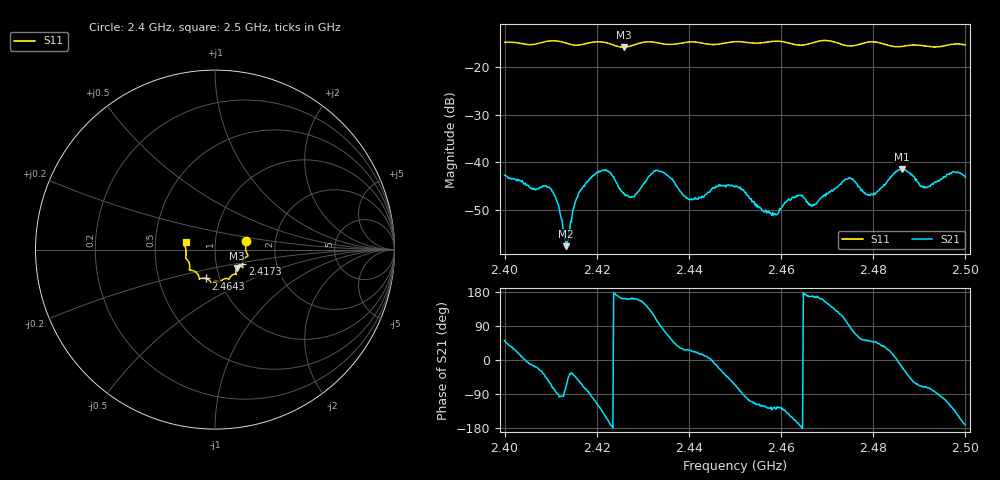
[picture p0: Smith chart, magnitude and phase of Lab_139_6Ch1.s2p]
# Hz S RI R 50
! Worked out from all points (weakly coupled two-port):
!   601 points, 2.4 GHz to 2.5 GHz, reference 50 ohm
!   highest |S21| = -41.37 dB at 2.4862 GHz (marker M1); lowest = -57.5 dB at 2.4133 GHz (marker M2)
!   lowest |S11| = -15.9 dB at 2.4258 GHz (marker M3), VSWR 1.38, Z = 62.3 - j13.3 ohm
!   |S11| at or under -10 dB: start of sweep to end of sweep
!   S12 and S22 are empty: the file has one direction only
!   S11 on the Smith chart (normalised r, x): 2.4 GHz: 1.41, +0.14; 2.4173 GHz: 1.34, -0.23; 2.4643 GHz: 0.86, -0.29; 2.5 GHz: 0.72, +0.06
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2.4e9  0.1733 0.0491  0.00462 0.00573  0 0  0 0
2.41e9  0.1836 -0.0325  0.00241 -0.00474  0 0  0 0
2.4115e9  0.1821 -0.0357  6.56e-05 -0.00375  0 0  0 0
2.413333e9  0.171 -0.0425  0.00047 -0.00125  0 0  0 0
2.416667e9  0.153 -0.0746  0.00241 -0.00465  0 0  0 0
2.417333e9  0.1522 -0.082  0.00162 -0.00538  0 0  0 0
2.421833e9  0.1522 -0.0951  -0.00705 -0.00441  0 0  0 0
2.425833e9  0.1217 -0.1037  -0.00459 0.00152  0 0  0 0
2.428e9  0.1147 -0.1237  -0.00414 0.00146  0 0  0 0
2.433333e9  0.113 -0.1367  -0.00141 0.00812  0 0  0 0
2.440333e9  0.079 -0.1641  0.00366 0.00177  0 0  0 0
2.45e9  0.0294 -0.1806  0.00228 -0.00506  0 0  0 0
2.4585e9  -0.0201 -0.1835  -0.00164 -0.00236  0 0  0 0
2.464333e9  -0.05 -0.1608  -0.00447 -0.000415  0 0  0 0
2.466667e9  -0.0761 -0.1597  -0.00339 0.00076  0 0  0 0
2.4745e9  -0.1015 -0.1307  -0.000665 0.00668  0 0  0 0
2.479e9  -0.1405 -0.1153  0.00284 0.00364  0 0  0 0
2.483333e9  -0.1408 -0.0902  0.00597 0.00289  0 0  0 0
2.486167e9  -0.1506 -0.0618  0.00816 -0.00252  0 0  0 0
2.491167e9  -0.1617 -0.0328  0.00172 -0.00514  0 0  0 0
2.497167e9  -0.1698 0.0269  -0.00477 -0.00638  0 0  0 0
2.5e9  -0.1637 0.0419  -0.00692 -0.00104  0 0  0 0
